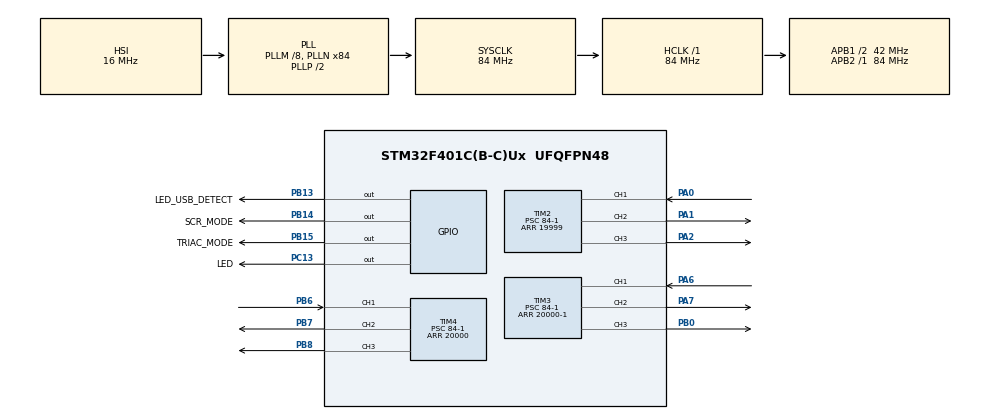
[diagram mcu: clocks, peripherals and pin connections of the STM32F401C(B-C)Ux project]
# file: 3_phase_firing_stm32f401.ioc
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Mcu.Family=STM32F4
Mcu.Name=STM32F401C(B-C)Ux
Mcu.Package=UFQFPN48
NVIC.PriorityGroup=NVIC_PRIORITYGROUP_4
NVIC.TIM2_IRQn=true\:0\:0\:false\:false\:true\:true\:true\:true
PA0-WKUP.Signal=S_TIM2_CH1_ETR
PA1.Signal=S_TIM2_CH2
PA13.Mode=JTAG_4_pins
PA13.Signal=SYS_JTMS-SWDIO
PA14.Mode=JTAG_4_pins
PA14.Signal=SYS_JTCK-SWCLK
PA15.Mode=JTAG_4_pins
PA15.Signal=SYS_JTDI
PA2.Signal=S_TIM2_CH3
PA6.Signal=S_TIM3_CH1
PA7.Signal=S_TIM3_CH2
PB0.Signal=S_TIM3_CH3
PB13.GPIO_Label=LED_USB_DETECT
PB13.Signal=GPIO_Output
PB14.GPIO_Label=SCR_MODE
PB14.Signal=GPIO_Output
PB15.GPIO_Label=TRIAC_MODE
PB15.Signal=GPIO_Output
PB3.Mode=JTAG_4_pins
PB3.Signal=SYS_JTDO-SWO
PB6.Signal=S_TIM4_CH1
PB7.Signal=S_TIM4_CH2
PB8.Signal=S_TIM4_CH3
PC13-ANTI_TAMP.GPIO_Label=LED
PC13-ANTI_TAMP.Signal=GPIO_Output
PC14-OSC32_IN.Mode=LSE-External-Oscillator
PC14-OSC32_IN.Signal=RCC_OSC32_IN
PC15-OSC32_OUT.Mode=LSE-External-Oscillator
PC15-OSC32_OUT.Signal=RCC_OSC32_OUT
PH0\ -\ OSC_IN.Mode=HSE-External-Oscillator
PH0\ -\ OSC_IN.Signal=RCC_OSC_IN
PH1\ -\ OSC_OUT.Mode=HSE-External-Oscillator
PH1\ -\ OSC_OUT.Signal=RCC_OSC_OUT
ProjectManager.HeapSize=0x200
ProjectManager.StackSize=0x400
ProjectManager.TargetToolchain=STM32CubeIDE
RCC.48MHZClocksFreq_Value=42000000
RCC.AHBFreq_Value=84000000
RCC.APB1CLKDivider=RCC_HCLK_DIV2
RCC.APB1Freq_Value=42000000
RCC.APB1TimFreq_Value=84000000
RCC.APB2Freq_Value=84000000
RCC.APB2TimFreq_Value=84000000
RCC.CortexFreq_Value=84000000
RCC.HCLKFreq_Value=84000000
RCC.HSE_VALUE=25000000
RCC.HSI_VALUE=16000000
RCC.PLLM=8
RCC.PLLN=84
RCC.SYSCLKFreq_VALUE=84000000
RCC.SYSCLKSource=RCC_SYSCLKSOURCE_PLLCLK
RCC.VCOOutputFreq_Value=168000000
SH.S_TIM2_CH1_ETR.0=TIM2_CH1,TriggerSource_TI1FP1
SH.S_TIM2_CH2.0=TIM2_CH2,PWM Generation2 CH2
SH.S_TIM2_CH3.0=TIM2_CH3,Output Compare3 CH3
SH.S_TIM3_CH1.0=TIM3_CH1,TriggerSource_TI1FP1
SH.S_TIM3_CH2.0=TIM3_CH2,PWM Generation2 CH2
SH.S_TIM3_CH3.0=TIM3_CH3,Output Compare3 CH3
SH.S_TIM4_CH1.0=TIM4_CH1,TriggerSource_TI1FP1
SH.S_TIM4_CH2.0=TIM4_CH2,PWM Generation2 CH2
SH.S_TIM4_CH3.0=TIM4_CH3,Output Compare3 CH3
TIM2.AutoReloadPreload=TIM_AUTORELOAD_PRELOAD_ENABLE
TIM2.Channel-Output\ Compare3\ CH3=TIM_CHANNEL_3
TIM2.Channel-PWM\ Generation2\ CH2=TIM_CHANNEL_2
TIM2.Period=19999
TIM2.Prescaler=84-1
TIM3.AutoReloadPreload=TIM_AUTORELOAD_PRELOAD_ENABLE
TIM3.Channel-Output\ Compare3\ CH3=TIM_CHANNEL_3
TIM3.Channel-PWM\ Generation2\ CH2=TIM_CHANNEL_2
TIM3.OCMode_3=TIM_OCMODE_TOGGLE
TIM3.OCMode_PWM-PWM\ Generation2\ CH2=TIM_OCMODE_PWM2
TIM3.Period=20000-1
TIM3.Prescaler=84-1
TIM4.AutoReloadPreload=TIM_AUTORELOAD_PRELOAD_ENABLE
TIM4.Channel-Output\ Compare3\ CH3=TIM_CHANNEL_3
TIM4.Channel-PWM\ Generation2\ CH2=TIM_CHANNEL_2
TIM4.OCMode_3=TIM_OCMODE_TOGGLE
TIM4.OCMode_PWM-PWM\ Generation2\ CH2=TIM_OCMODE_PWM2
TIM4.Period=20000
TIM4.Prescaler=84-1
VP_TIM2_VS_ControllerModeTrigger.Mode=Trigger Mode
VP_TIM2_VS_OPM.Mode=OPM_bit
VP_TIM3_VS_ControllerModeTrigger.Mode=Trigger Mode
VP_TIM3_VS_OPM.Mode=OPM_bit
VP_TIM4_VS_ControllerModeTrigger.Mode=Trigger Mode
VP_TIM4_VS_OPM.Mode=OPM_bit
board=custom

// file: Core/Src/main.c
/* USER CODE BEGIN Header */
/**
 ******************************************************************************
 * @file           : main.c
 * @brief          : Main program body
 ******************************************************************************
 * @attention
 *
 * Copyright (c) 2022 STMicroelectronics.
 * All rights reserved.
 *
 * This software is licensed under terms that can be found in the LICENSE file
 * in the root directory of this software component.
 * If no LICENSE file comes with this software, it is provided AS-IS.
 *
 ******************************************************************************
 */
/* USER CODE END Header */
#include "main.h"

TIM_HandleTypeDef htim2;
TIM_HandleTypeDef htim3;
TIM_HandleTypeDef htim4;

/* USER CODE BEGIN PV */
#define SCR_PULSE_WIDTH 1000
int sudut_alpha = 0;
int first_wave_flag = 0;
uint16_t pulse_width_ch2 = 0;
uint16_t pulse_width_ch3 = 0;
/* USER CODE END PV */

void SystemClock_Config(void);
static void MX_GPIO_Init(void);
static void MX_TIM2_Init(void);
static void MX_TIM3_Init(void);
static void MX_TIM4_Init(void);
/* USER CODE BEGIN PFP */
void set_alpha(int alpha);
/* USER CODE END PFP */

int main(void)
{

  /* MCU Configuration--------------------------------------------------------*/

  /* Reset of all peripherals, Initializes the Flash interface and the Systick. */
  HAL_Init();

  /* Configure the system clock */
  SystemClock_Config();

  /* Initialize all configured peripherals */
  MX_GPIO_Init();
  MX_TIM2_Init();
  MX_TIM3_Init();
  MX_TIM4_Init();
  /* USER CODE BEGIN 2 */
	HAL_TIM_Base_Start(&htim2);
	HAL_TIM_OnePulse_Start(&htim2, TIM_CHANNEL_2);
	HAL_TIM_OC_Start_IT(&htim2, TIM_CHANNEL_3);
	sudut_alpha = 1;
	set_alpha(sudut_alpha);
  /* USER CODE END 2 */

  /* Infinite loop */
  /* USER CODE BEGIN WHILE */
	while (1)
	{
		HAL_GPIO_TogglePin(LED_GPIO_Port, LED_Pin);
		sudut_alpha = 1000;
		set_alpha(sudut_alpha);
		HAL_Delay(1000);
		sudut_alpha = 1;
		set_alpha(sudut_alpha);
		HAL_Delay(2000);
		sudut_alpha = 8000;
		set_alpha(sudut_alpha);
		HAL_Delay(3000);
		for (int i = 0; i < 9000; i++){
			sudut_alpha = i;
			set_alpha(i);
			HAL_Delay(1);
		}
    /* USER CODE END WHILE */

	}
}

void SystemClock_Config(void)
{
  RCC_OscInitTypeDef RCC_OscInitStruct = {0};
  RCC_ClkInitTypeDef RCC_ClkInitStruct = {0};

  /** Configure the main internal regulator output voltage
  */
  __HAL_RCC_PWR_CLK_ENABLE();
  __HAL_PWR_VOLTAGESCALING_CONFIG(PWR_REGULATOR_VOLTAGE_SCALE2);

  /** Initializes the RCC Oscillators according to the specified parameters
  * in the RCC_OscInitTypeDef structure.
  */
  RCC_OscInitStruct.OscillatorType = RCC_OSCILLATORTYPE_HSI;
  RCC_OscInitStruct.HSIState = RCC_HSI_ON;
  RCC_OscInitStruct.HSICalibrationValue = RCC_HSICALIBRATION_DEFAULT;
  RCC_OscInitStruct.PLL.PLLState = RCC_PLL_ON;
  RCC_OscInitStruct.PLL.PLLSource = RCC_PLLSOURCE_HSI;
  RCC_OscInitStruct.PLL.PLLM = 8;
  RCC_OscInitStruct.PLL.PLLN = 84;
  RCC_OscInitStruct.PLL.PLLP = RCC_PLLP_DIV2;
  RCC_OscInitStruct.PLL.PLLQ = 4;
  if (HAL_RCC_OscConfig(&RCC_OscInitStruct) != HAL_OK)
  {
    Error_Handler();
  }

  /** Initializes the CPU, AHB and APB buses clocks
  */
  RCC_ClkInitStruct.ClockType = RCC_CLOCKTYPE_HCLK|RCC_CLOCKTYPE_SYSCLK
                              |RCC_CLOCKTYPE_PCLK1|RCC_CLOCKTYPE_PCLK2;
  RCC_ClkInitStruct.SYSCLKSource = RCC_SYSCLKSOURCE_PLLCLK;
  RCC_ClkInitStruct.AHBCLKDivider = RCC_SYSCLK_DIV1;
  RCC_ClkInitStruct.APB1CLKDivider = RCC_HCLK_DIV2;
  RCC_ClkInitStruct.APB2CLKDivider = RCC_HCLK_DIV1;

  if (HAL_RCC_ClockConfig(&RCC_ClkInitStruct, FLASH_LATENCY_2) != HAL_OK)
  {
    Error_Handler();
  }
}

static void MX_TIM2_Init(void)
{

  /* USER CODE BEGIN TIM2_Init 0 */
	TIM_OnePulse_InitTypeDef sConfigOP = {0};
  /* USER CODE END TIM2_Init 0 */

  TIM_SlaveConfigTypeDef sSlaveConfig = {0};
  TIM_MasterConfigTypeDef sMasterConfig = {0};
  TIM_OC_InitTypeDef sConfigOC = {0};

  htim2.Instance = TIM2;
  htim2.Init.Prescaler = 84-1;
  htim2.Init.CounterMode = TIM_COUNTERMODE_UP;
  htim2.Init.Period = 19999;
  htim2.Init.ClockDivision = TIM_CLOCKDIVISION_DIV1;
  htim2.Init.AutoReloadPreload = TIM_AUTORELOAD_PRELOAD_ENABLE;
  if (HAL_TIM_Base_Init(&htim2) != HAL_OK)
  {
    Error_Handler();
  }
  if (HAL_TIM_PWM_Init(&htim2) != HAL_OK)
  {
    Error_Handler();
  }
  if (HAL_TIM_OC_Init(&htim2) != HAL_OK)
  {
    Error_Handler();
  }
  if (HAL_TIM_OnePulse_Init(&htim2, TIM_OPMODE_SINGLE) != HAL_OK)
  {
    Error_Handler();
  }
  sSlaveConfig.SlaveMode = TIM_SLAVEMODE_TRIGGER;
  sSlaveConfig.InputTrigger = TIM_TS_TI1FP1;
  sSlaveConfig.TriggerPolarity = TIM_TRIGGERPOLARITY_RISING;
  sSlaveConfig.TriggerFilter = 0;
  if (HAL_TIM_SlaveConfigSynchro(&htim2, &sSlaveConfig) != HAL_OK)
  {
    Error_Handler();
  }
  sMasterConfig.MasterOutputTrigger = TIM_TRGO_RESET;
  sMasterConfig.MasterSlaveMode = TIM_MASTERSLAVEMODE_DISABLE;
  if (HAL_TIMEx_MasterConfigSynchronization(&htim2, &sMasterConfig) != HAL_OK)
  {
    Error_Handler();
  }
  sConfigOC.OCMode = TIM_OCMODE_PWM1;
  sConfigOC.Pulse = 0;
  sConfigOC.OCPolarity = TIM_OCPOLARITY_HIGH;
  sConfigOC.OCFastMode = TIM_OCFAST_DISABLE;
  if (HAL_TIM_PWM_ConfigChannel(&htim2, &sConfigOC, TIM_CHANNEL_2) != HAL_OK)
  {
    Error_Handler();
  }
  sConfigOC.OCMode = TIM_OCMODE_TIMING;
  if (HAL_TIM_OC_ConfigChannel(&htim2, &sConfigOC, TIM_CHANNEL_3) != HAL_OK)
  {
    Error_Handler();
  }
  /* USER CODE BEGIN TIM2_Init 2 */
	sConfigOP.OCMode = TIM_OCMODE_PWM2;
	sConfigOP.Pulse = 1000;
	sConfigOP.OCPolarity = TIM_OCPOLARITY_HIGH;

	sConfigOP.ICSelection = TIM_ICSELECTION_DIRECTTI;
	sConfigOP.ICPolarity = TIM_ICPOLARITY_RISING;
	sConfigOP.ICFilter =  0;
	if (HAL_TIM_OnePulse_ConfigChannel(&htim2, &sConfigOP, TIM_CHANNEL_2, TIM_CHANNEL_1) != HAL_OK)
	{
		Error_Handler();
	}
  /* USER CODE END TIM2_Init 2 */
  HAL_TIM_MspPostInit(&htim2);

}

static void MX_TIM3_Init(void)
{

  TIM_SlaveConfigTypeDef sSlaveConfig = {0};
  TIM_MasterConfigTypeDef sMasterConfig = {0};
  TIM_OC_InitTypeDef sConfigOC = {0};

  htim3.Instance = TIM3;
  htim3.Init.Prescaler = 84-1;
  htim3.Init.CounterMode = TIM_COUNTERMODE_UP;
  htim3.Init.Period = 20000-1;
  htim3.Init.ClockDivision = TIM_CLOCKDIVISION_DIV1;
  htim3.Init.AutoReloadPreload = TIM_AUTORELOAD_PRELOAD_ENABLE;
  if (HAL_TIM_Base_Init(&htim3) != HAL_OK)
  {
    Error_Handler();
  }
  if (HAL_TIM_PWM_Init(&htim3) != HAL_OK)
  {
    Error_Handler();
  }
  if (HAL_TIM_OC_Init(&htim3) != HAL_OK)
  {
    Error_Handler();
  }
  if (HAL_TIM_OnePulse_Init(&htim3, TIM_OPMODE_SINGLE) != HAL_OK)
  {
    Error_Handler();
  }
  sSlaveConfig.SlaveMode = TIM_SLAVEMODE_TRIGGER;
  sSlaveConfig.InputTrigger = TIM_TS_TI1FP1;
  sSlaveConfig.TriggerPolarity = TIM_TRIGGERPOLARITY_RISING;
  sSlaveConfig.TriggerFilter = 0;
  if (HAL_TIM_SlaveConfigSynchro(&htim3, &sSlaveConfig) != HAL_OK)
  {
    Error_Handler();
  }
  sMasterConfig.MasterOutputTrigger = TIM_TRGO_RESET;
  sMasterConfig.MasterSlaveMode = TIM_MASTERSLAVEMODE_DISABLE;
  if (HAL_TIMEx_MasterConfigSynchronization(&htim3, &sMasterConfig) != HAL_OK)
  {
    Error_Handler();
  }
  sConfigOC.OCMode = TIM_OCMODE_PWM2;
  sConfigOC.Pulse = 0;
  sConfigOC.OCPolarity = TIM_OCPOLARITY_HIGH;
  sConfigOC.OCFastMode = TIM_OCFAST_DISABLE;
  if (HAL_TIM_PWM_ConfigChannel(&htim3, &sConfigOC, TIM_CHANNEL_2) != HAL_OK)
  {
    Error_Handler();
  }
  sConfigOC.OCMode = TIM_OCMODE_TOGGLE;
  if (HAL_TIM_OC_ConfigChannel(&htim3, &sConfigOC, TIM_CHANNEL_3) != HAL_OK)
  {
    Error_Handler();
  }
  HAL_TIM_MspPostInit(&htim3);

}

static void MX_TIM4_Init(void)
{

  TIM_SlaveConfigTypeDef sSlaveConfig = {0};
  TIM_MasterConfigTypeDef sMasterConfig = {0};
  TIM_OC_InitTypeDef sConfigOC = {0};

  htim4.Instance = TIM4;
  htim4.Init.Prescaler = 84-1;
  htim4.Init.CounterMode = TIM_COUNTERMODE_UP;
  htim4.Init.Period = 20000;
  htim4.Init.ClockDivision = TIM_CLOCKDIVISION_DIV1;
  htim4.Init.AutoReloadPreload = TIM_AUTORELOAD_PRELOAD_ENABLE;
  if (HAL_TIM_Base_Init(&htim4) != HAL_OK)
  {
    Error_Handler();
  }
  if (HAL_TIM_PWM_Init(&htim4) != HAL_OK)
  {
    Error_Handler();
  }
  if (HAL_TIM_OC_Init(&htim4) != HAL_OK)
  {
    Error_Handler();
  }
  if (HAL_TIM_OnePulse_Init(&htim4, TIM_OPMODE_SINGLE) != HAL_OK)
  {
    Error_Handler();
  }
  sSlaveConfig.SlaveMode = TIM_SLAVEMODE_TRIGGER;
  sSlaveConfig.InputTrigger = TIM_TS_TI1FP1;
  sSlaveConfig.TriggerPolarity = TIM_TRIGGERPOLARITY_RISING;
  sSlaveConfig.TriggerFilter = 0;
  if (HAL_TIM_SlaveConfigSynchro(&htim4, &sSlaveConfig) != HAL_OK)
  {
    Error_Handler();
  }
  sMasterConfig.MasterOutputTrigger = TIM_TRGO_RESET;
  sMasterConfig.MasterSlaveMode = TIM_MASTERSLAVEMODE_DISABLE;
  if (HAL_TIMEx_MasterConfigSynchronization(&htim4, &sMasterConfig) != HAL_OK)
  {
    Error_Handler();
  }
  sConfigOC.OCMode = TIM_OCMODE_PWM2;
  sConfigOC.Pulse = 0;
  sConfigOC.OCPolarity = TIM_OCPOLARITY_HIGH;
  sConfigOC.OCFastMode = TIM_OCFAST_DISABLE;
  if (HAL_TIM_PWM_ConfigChannel(&htim4, &sConfigOC, TIM_CHANNEL_2) != HAL_OK)
  {
    Error_Handler();
  }
  sConfigOC.OCMode = TIM_OCMODE_TOGGLE;
  if (HAL_TIM_OC_ConfigChannel(&htim4, &sConfigOC, TIM_CHANNEL_3) != HAL_OK)
  {
    Error_Handler();
  }
  HAL_TIM_MspPostInit(&htim4);

}

static void MX_GPIO_Init(void)
{
  GPIO_InitTypeDef GPIO_InitStruct = {0};

  /* GPIO Ports Clock Enable */
  __HAL_RCC_GPIOC_CLK_ENABLE();
  __HAL_RCC_GPIOH_CLK_ENABLE();
  __HAL_RCC_GPIOA_CLK_ENABLE();
  __HAL_RCC_GPIOB_CLK_ENABLE();

  /*Configure GPIO pin Output Level */
  HAL_GPIO_WritePin(LED_GPIO_Port, LED_Pin, GPIO_PIN_RESET);

  /*Configure GPIO pin Output Level */
  HAL_GPIO_WritePin(GPIOB, LED_USB_DETECT_Pin|SCR_MODE_Pin|TRIAC_MODE_Pin, GPIO_PIN_RESET);

  /*Configure GPIO pin : LED_Pin */
  GPIO_InitStruct.Pin = LED_Pin;
  GPIO_InitStruct.Mode = GPIO_MODE_OUTPUT_PP;
  GPIO_InitStruct.Pull = GPIO_NOPULL;
  GPIO_InitStruct.Speed = GPIO_SPEED_FREQ_LOW;
  HAL_GPIO_Init(LED_GPIO_Port, &GPIO_InitStruct);

  /*Configure GPIO pins : LED_USB_DETECT_Pin SCR_MODE_Pin TRIAC_MODE_Pin */
  GPIO_InitStruct.Pin = LED_USB_DETECT_Pin|SCR_MODE_Pin|TRIAC_MODE_Pin;
  GPIO_InitStruct.Mode = GPIO_MODE_OUTPUT_PP;
  GPIO_InitStruct.Pull = GPIO_NOPULL;
  GPIO_InitStruct.Speed = GPIO_SPEED_FREQ_LOW;
  HAL_GPIO_Init(GPIOB, &GPIO_InitStruct);

}

/* USER CODE BEGIN 4 */
void HAL_TIM_OC_DelayElapsedCallback(TIM_HandleTypeDef *htim){
	if(htim->Instance == TIM2){
		if(htim->Channel == HAL_TIM_ACTIVE_CHANNEL_3){
			if (first_wave_flag != 0){
				__HAL_TIM_SET_COMPARE(&htim2, TIM_CHANNEL_3, sudut_alpha);
				first_wave_flag = 0;
			}
			else {
				__HAL_TIM_SET_COMPARE(&htim2, TIM_CHANNEL_3, (sudut_alpha+SCR_PULSE_WIDTH));
				first_wave_flag = 1;
			}
		}
	}
}
void set_alpha(int alpha){
	__HAL_TIM_SET_COMPARE(&htim2, TIM_CHANNEL_2, (alpha+10000));
	__HAL_TIM_SET_COMPARE(&htim2, TIM_CHANNEL_3, (alpha));
	__HAL_TIM_SET_AUTORELOAD(&htim2, (alpha+10000+SCR_PULSE_WIDTH));
}
/* USER CODE END 4 */

void Error_Handler(void)
{
	__disable_irq();
	while (1)
	{
	}
}
